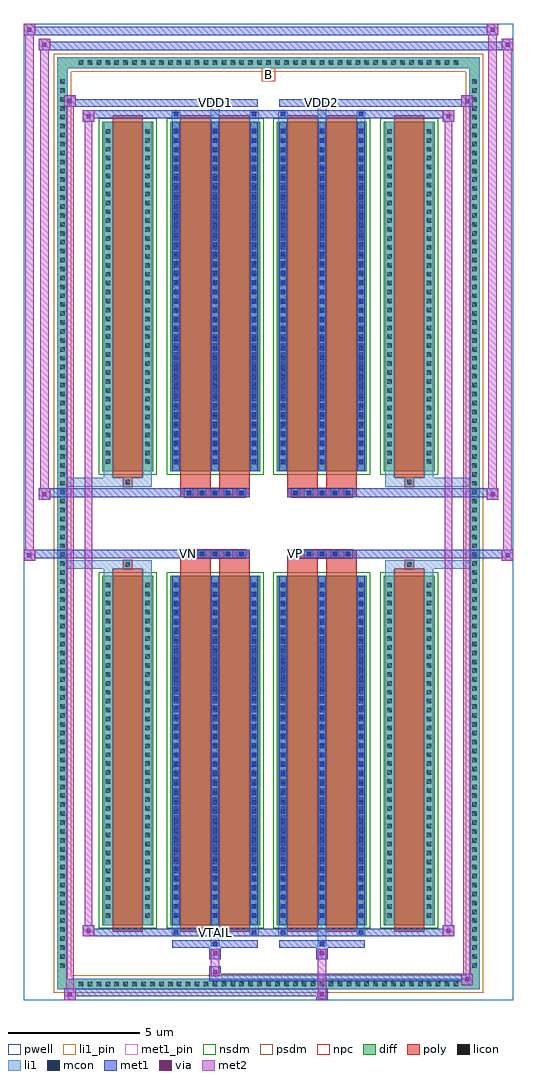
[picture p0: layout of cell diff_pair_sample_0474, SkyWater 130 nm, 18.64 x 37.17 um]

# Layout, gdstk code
import gdstk
lib = gdstk.Library(unit=1e-6, precision=5e-09)
def R(c, l, rs):  # rectangles x0, y0, x1, y1
    for r in rs: c.add(gdstk.rectangle(r[:2], r[2:], *l))
def A(c, l, x, y, w, h, nx, ny, dx, dy):  # array of equal rectangles
    R(c, l, [(x+i*dx, y+j*dy, x+i*dx+w, y+j*dy+h) for i in range(nx) for j in range(ny)])
def P(c, l, *ps):  # polygons
    for p in ps: c.add(gdstk.Polygon(p, *l))
pwell = (64, 44)
diff = (65, 20)
poly = (66, 20)
licon = (66, 44)
li1_pin = (67, 16)
li1 = (67, 20)
mcon = (67, 44)
met1_pin = (68, 16)
met1 = (68, 20)
via = (68, 44)
met2 = (69, 20)
nsdm = (93, 44)
psdm = (94, 20)
npc = (95, 20)

diff_pair_sample_0474 = lib.new_cell('diff_pair_sample_0474')
R(diff_pair_sample_0474, pwell, [(-9.32,-18.15,9.32,19.02), (-6.64,-16.34,-0.01,-0.8), (0.01,-16.34,6.64,-0.8), (-6.64,0.8,-0.01,16.34), (0.01,0.8,6.64,16.34)])
A(diff_pair_sample_0474, diff, -7.345, -17.75, 0.41, 0.41, 43, 2, 0.34, 35.09)
A(diff_pair_sample_0474, diff, -8.05, -17.035, 0.41, 0.41, 1, 100, 0, 0.34)
A(diff_pair_sample_0474, diff, 7.64, -17.035, 0.41, 0.41, 1, 100, 0, 0.34)
R(diff_pair_sample_0474, diff, [(-7.345,-17.75,7.345,-17.34), (-8.05,-17.035,-7.64,17.035), (7.64,-17.035,8.05,17.035), (-6.33,-15.295,-4.39,-1.985), (-3.75,-15.295,-0.32,-1.985), (0.32,-15.295,3.75,-1.985), (4.39,-15.295,6.33,-1.985), (-6.33,1.985,-4.39,15.295), (-3.75,1.985,-0.32,15.295), (0.32,1.985,3.75,15.295), (4.39,1.985,6.33,15.295), (-7.345,17.34,7.345,17.75)])
P(diff_pair_sample_0474, diff, [(8.05,17.75),(-8.05,17.75),(-8.05,-17.34),(-7.64,-17.34),(-7.64,17.34),(7.64,17.34),(7.64,-17.34),(-7.64,-17.34),(-8.05,-17.34),(-8.05,-17.75),(8.05,-17.75)])
A(diff_pair_sample_0474, poly, -3.2, -1.33, 0.33, 0.33, 5, 2, 0.5, 2.33)
A(diff_pair_sample_0474, poly, 0.87, -1.33, 0.33, 0.33, 5, 2, 0.5, 2.33)
R(diff_pair_sample_0474, poly, [(-5.94,-15.545,-4.78,-1.735), (-3.36,-15.545,-2.2,-1.735), (-1.87,-15.545,-0.71,-1.735), (0.71,-15.545,1.87,-1.735), (2.2,-15.545,3.36,-1.735), (4.78,-15.545,5.94,-1.735), (-5.525,-1.735,-5.195,-1.405), (-5.525,-1.735,-5.195,-1.405), (-3.36,-1.735,-2.2,-1.33), (-1.87,-1.735,-0.71,-1.33), (0.71,-1.735,1.87,-1.33), (2.2,-1.735,3.36,-1.33), (5.195,-1.735,5.525,-1.405), (5.195,-1.735,5.525,-1.405), (-3.36,-1.33,-0.71,-1), (0.71,-1.33,3.36,-1), (-3.36,1,-0.71,1.33), (0.71,1,3.36,1.33), (-3.36,1.33,-2.2,1.735), (-1.87,1.33,-0.71,1.735), (0.71,1.33,1.87,1.735), (2.2,1.33,3.36,1.735), (-5.525,1.405,-5.195,1.735), (-5.525,1.405,-5.195,1.735), (5.195,1.405,5.525,1.735), (5.195,1.405,5.525,1.735), (-5.94,1.735,-4.78,15.545), (-3.36,1.735,-2.2,15.545), (-1.87,1.735,-0.71,15.545), (0.71,1.735,1.87,15.545), (2.2,1.735,3.36,15.545), (4.78,1.735,5.94,15.545)])
A(diff_pair_sample_0474, licon, -7.225, -17.63, 0.17, 0.17, 43, 2, 0.34, 35.09)
A(diff_pair_sample_0474, licon, -7.93, -16.915, 0.17, 0.17, 1, 100, 0, 0.34)
A(diff_pair_sample_0474, licon, 7.76, -16.915, 0.17, 0.17, 1, 100, 0, 0.34)
A(diff_pair_sample_0474, licon, -6.19, -15.015, 0.17, 0.17, 1, 38, 0, 0.34)
A(diff_pair_sample_0474, licon, -4.7, -15.015, 0.17, 0.17, 1, 38, 0, 0.34)
A(diff_pair_sample_0474, licon, -3.61, -15.015, 0.17, 0.17, 3, 38, 1.49, 0.34)
A(diff_pair_sample_0474, licon, 0.46, -15.015, 0.17, 0.17, 3, 38, 1.49, 0.34)
A(diff_pair_sample_0474, licon, 4.53, -15.015, 0.17, 0.17, 1, 38, 0, 0.34)
A(diff_pair_sample_0474, licon, 6.02, -15.015, 0.17, 0.17, 1, 38, 0, 0.34)
A(diff_pair_sample_0474, licon, -3.12, -1.25, 0.17, 0.17, 5, 2, 0.5, 2.33)
A(diff_pair_sample_0474, licon, 0.95, -1.25, 0.17, 0.17, 5, 2, 0.5, 2.33)
A(diff_pair_sample_0474, licon, -6.19, 2.265, 0.17, 0.17, 1, 38, 0, 0.34)
A(diff_pair_sample_0474, licon, -4.7, 2.265, 0.17, 0.17, 1, 38, 0, 0.34)
A(diff_pair_sample_0474, licon, -3.61, 2.265, 0.17, 0.17, 3, 38, 1.49, 0.34)
A(diff_pair_sample_0474, licon, 0.46, 2.265, 0.17, 0.17, 3, 38, 1.49, 0.34)
A(diff_pair_sample_0474, licon, 4.53, 2.265, 0.17, 0.17, 1, 38, 0, 0.34)
A(diff_pair_sample_0474, licon, 6.02, 2.265, 0.17, 0.17, 1, 38, 0, 0.34)
R(diff_pair_sample_0474, licon, [(-5.445,-1.655,-5.275,-1.485), (5.275,-1.655,5.445,-1.485), (-5.445,1.485,-5.275,1.655), (5.275,1.485,5.445,1.655)])
R(diff_pair_sample_0474, li1_pin, [(-0.25,16.84,0.25,17.34)])
A(diff_pair_sample_0474, li1, -7.305, -17.71, 0.33, 0.33, 43, 2, 0.34, 35.09)
A(diff_pair_sample_0474, li1, -8.01, -16.995, 0.33, 0.33, 1, 100, 0, 0.34)
A(diff_pair_sample_0474, li1, 7.68, -16.995, 0.33, 0.33, 1, 100, 0, 0.34)
A(diff_pair_sample_0474, li1, -3.69, -15.295, 0.33, 13.31, 3, 2, 1.49, 17.28)
A(diff_pair_sample_0474, li1, 0.38, -15.295, 0.33, 13.31, 3, 2, 1.49, 17.28)
A(diff_pair_sample_0474, li1, -6.27, -15.095, 0.33, 0.33, 1, 38, 0, 0.34)
A(diff_pair_sample_0474, li1, -4.78, -15.095, 0.33, 0.33, 1, 38, 0, 0.34)
A(diff_pair_sample_0474, li1, -3.69, -15.095, 0.33, 0.33, 3, 38, 1.49, 0.34)
A(diff_pair_sample_0474, li1, 0.38, -15.095, 0.33, 0.33, 3, 38, 1.49, 0.34)
A(diff_pair_sample_0474, li1, 4.45, -15.095, 0.33, 0.33, 1, 38, 0, 0.34)
A(diff_pair_sample_0474, li1, 5.94, -15.095, 0.33, 0.33, 1, 38, 0, 0.34)
A(diff_pair_sample_0474, li1, -3.61, -15.025, 0.17, 0.17, 3, 36, 1.49, 0.36)
A(diff_pair_sample_0474, li1, -3.61, -15.025, 0.17, 12.77, 3, 2, 1.49, 17.28)
A(diff_pair_sample_0474, li1, 0.46, -15.025, 0.17, 0.17, 3, 36, 1.49, 0.36)
A(diff_pair_sample_0474, li1, 0.46, -15.025, 0.17, 12.77, 3, 2, 1.49, 17.28)
A(diff_pair_sample_0474, li1, -3.2, -1.33, 0.33, 0.33, 5, 2, 0.5, 2.33)
A(diff_pair_sample_0474, li1, 0.87, -1.33, 0.33, 0.33, 5, 2, 0.5, 2.33)
A(diff_pair_sample_0474, li1, -6.27, 2.185, 0.33, 0.33, 1, 38, 0, 0.34)
A(diff_pair_sample_0474, li1, -4.78, 2.185, 0.33, 0.33, 1, 38, 0, 0.34)
A(diff_pair_sample_0474, li1, -3.69, 2.185, 0.33, 0.33, 3, 38, 1.49, 0.34)
A(diff_pair_sample_0474, li1, 0.38, 2.185, 0.33, 0.33, 3, 38, 1.49, 0.34)
A(diff_pair_sample_0474, li1, 4.45, 2.185, 0.33, 0.33, 1, 38, 0, 0.34)
A(diff_pair_sample_0474, li1, 5.94, 2.185, 0.33, 0.33, 1, 38, 0, 0.34)
A(diff_pair_sample_0474, li1, -3.61, 2.255, 0.17, 0.17, 3, 36, 1.49, 0.36)
A(diff_pair_sample_0474, li1, 0.46, 2.255, 0.17, 0.17, 3, 36, 1.49, 0.36)
R(diff_pair_sample_0474, li1, [(-8.05,-17.75,-7.64,-17.34), (-8.05,-17.75,-7.64,-17.34), (-7.64,-17.75,7.64,-17.34), (7.64,-17.75,8.05,-17.34), (7.64,-17.75,8.05,-17.34), (-8.05,-17.34,-7.64,17.34), (7.64,-17.34,8.05,17.34), (-2.2,-16.1,-1.87,-15.295), (-2.12,-16.1,-1.95,-15.93), (1.87,-16.1,2.2,-15.295), (1.95,-16.1,2.12,-15.93), (-3.69,-15.67,-3.36,-15.295), (-3.61,-15.67,-3.44,-15.5), (-0.71,-15.67,-0.38,-15.295), (-0.63,-15.67,-0.46,-15.5), (0.38,-15.67,0.71,-15.295), (0.46,-15.67,0.63,-15.5), (3.36,-15.67,3.69,-15.295), (3.44,-15.67,3.61,-15.5), (-6.27,-15.295,-5.94,-1.985), (-4.78,-15.295,-4.45,-1.985), (4.45,-15.295,4.78,-1.985), (5.94,-15.295,6.27,-1.985), (-6.27,-1.985,-5.94,-1.405), (-4.78,-1.985,-4.45,-1.405), (4.45,-1.985,4.78,-1.405), (5.94,-1.985,6.27,-1.405), (-8.05,-1.735,-5.525,-1.405), (-6.27,-1.735,-5.525,-1.405), (-5.525,-1.735,-5.195,-1.405), (-5.195,-1.735,-4.45,-1.405), (4.45,-1.735,5.195,-1.405), (5.195,-1.735,5.525,-1.405), (5.195,-1.735,8.05,-1.405), (5.525,-1.735,6.27,-1.405), (-8.05,1.405,-5.525,1.735), (-6.27,1.405,-5.525,1.735), (-6.27,1.405,-5.94,1.985), (-5.525,1.405,-5.195,1.735), (-5.195,1.405,-4.45,1.735), (-4.78,1.405,-4.45,1.985), (4.45,1.405,5.195,1.735), (4.45,1.405,4.78,1.985), (5.195,1.405,5.525,1.735), (5.195,1.405,8.05,1.735), (5.525,1.405,6.27,1.735), (5.94,1.405,6.27,1.985), (-6.27,1.985,-5.94,15.295), (-4.78,1.985,-4.45,15.295), (4.45,1.985,4.78,15.295), (5.94,1.985,6.27,15.295), (-3.69,15.295,-3.36,15.67), (-2.2,15.295,-1.87,16.1), (-0.71,15.295,-0.38,15.67), (0.38,15.295,0.71,15.67), (1.87,15.295,2.2,16.1), (3.36,15.295,3.69,15.67), (-3.61,15.5,-3.44,15.67), (-0.63,15.5,-0.46,15.67), (0.46,15.5,0.63,15.67), (3.44,15.5,3.61,15.67), (-2.12,15.93,-1.95,16.1), (1.95,15.93,2.12,16.1), (-8.05,17.34,-7.64,17.75), (-8.05,17.34,-7.64,17.75), (-7.64,17.34,7.64,17.75), (7.64,17.34,8.05,17.75), (7.64,17.34,8.05,17.75)])
A(diff_pair_sample_0474, mcon, -3.61, -15.025, 0.17, 0.17, 3, 36, 1.49, 0.36)
A(diff_pair_sample_0474, mcon, 0.46, -15.025, 0.17, 0.17, 3, 36, 1.49, 0.36)
A(diff_pair_sample_0474, mcon, -3.12, -1.25, 0.17, 0.17, 5, 2, 0.5, 2.33)
A(diff_pair_sample_0474, mcon, 0.95, -1.25, 0.17, 0.17, 5, 2, 0.5, 2.33)
A(diff_pair_sample_0474, mcon, -3.61, 2.255, 0.17, 0.17, 3, 36, 1.49, 0.36)
A(diff_pair_sample_0474, mcon, 0.46, 2.255, 0.17, 0.17, 3, 36, 1.49, 0.36)
R(diff_pair_sample_0474, mcon, [(-2.12,-16.1,-1.95,-15.93), (1.95,-16.1,2.12,-15.93), (-3.61,-15.67,-3.44,-15.5), (-0.63,-15.67,-0.46,-15.5), (0.46,-15.67,0.63,-15.5), (3.44,-15.67,3.61,-15.5), (-3.61,15.5,-3.44,15.67), (-0.63,15.5,-0.46,15.67), (0.46,15.5,0.63,15.67), (3.44,15.5,3.61,15.67), (-2.12,15.93,-1.95,16.1), (1.95,15.93,2.12,16.1)])
R(diff_pair_sample_0474, met1_pin, [(-2.17,-15.71,-1.9,-15.44), (-3.17,-1.29,-2.9,-1.02), (0.9,-1.29,1.17,-1.02), (-2.17,15.89,-1.9,16.16), (1.9,15.89,2.17,16.16)])
A(diff_pair_sample_0474, met1, -3.67, -15.295, 0.29, 13.31, 3, 2, 1.49, 17.28)
A(diff_pair_sample_0474, met1, 0.4, -15.295, 0.29, 13.31, 3, 2, 1.49, 17.28)
A(diff_pair_sample_0474, met1, -3.67, -15.085, 0.29, 0.29, 3, 36, 1.49, 0.36)
A(diff_pair_sample_0474, met1, 0.4, -15.085, 0.29, 0.29, 3, 36, 1.49, 0.36)
A(diff_pair_sample_0474, met1, -3.18, -1.31, 0.29, 0.29, 5, 2, 0.5, 2.33)
A(diff_pair_sample_0474, met1, 0.89, -1.31, 0.29, 0.29, 5, 2, 0.5, 2.33)
A(diff_pair_sample_0474, met1, -3.67, 2.195, 0.29, 0.29, 3, 36, 1.49, 0.36)
A(diff_pair_sample_0474, met1, 0.4, 2.195, 0.29, 0.29, 3, 36, 1.49, 0.36)
R(diff_pair_sample_0474, met1, [(-7.78,-18.15,-7.35,-17.72), (1.82,-18.15,2.25,-17.72), (-7.78,-18.01,2.25,-17.72), (7.35,-17.58,7.78,-17.15), (-2.25,-17.44,7.78,-17.15), (-2.25,-17.3,-1.82,-16.87), (-2.25,-16.59,-1.82,-16.16), (1.82,-16.59,2.25,-16.16), (-3.67,-16.16,-0.4,-15.87), (-2.18,-16.16,-1.89,-15.87), (0.4,-16.16,3.67,-15.87), (1.89,-16.16,2.18,-15.87), (-7.07,-15.73,-6.64,-15.3), (-7.07,-15.73,-3.67,-15.44), (-3.67,-15.73,-3.38,-15.44), (-3.67,-15.73,-0.4,-15.44), (-0.69,-15.73,-0.4,-15.44), (-0.4,-15.73,0.4,-15.44), (0.4,-15.73,0.69,-15.44), (0.4,-15.73,3.67,-15.44), (3.38,-15.73,3.67,-15.44), (3.67,-15.73,7.07,-15.44), (6.64,-15.73,7.07,-15.3), (-9.32,-1.43,-8.89,-1), (8.89,-1.43,9.32,-1), (-9.32,-1.33,-0.71,-1), (-3.36,-1.33,-0.71,-1), (0.71,-1.33,3.36,-1), (0.71,-1.33,9.32,-1), (-8.75,0.9,-8.32,1.33), (8.32,0.9,8.75,1.33), (-8.75,1,-3.36,1.33), (-3.36,1,-0.71,1.33), (0.71,1,3.36,1.33), (3.36,1,8.75,1.33), (-7.07,15.3,-6.64,15.73), (6.64,15.3,7.07,15.73), (-7.07,15.44,-3.67,15.73), (-3.67,15.44,-3.38,15.73), (-3.67,15.44,-0.4,15.73), (-0.69,15.44,-0.4,15.73), (-0.4,15.44,0.4,15.73), (0.4,15.44,0.69,15.73), (0.4,15.44,3.67,15.73), (3.38,15.44,3.67,15.73), (3.67,15.44,7.07,15.73), (-7.78,15.87,-7.35,16.3), (-7.78,15.87,-3.67,16.16), (-3.67,15.87,-0.4,16.16), (-2.18,15.87,-1.89,16.16), (0.4,15.87,3.67,16.16), (1.89,15.87,2.18,16.16), (3.67,15.87,7.78,16.16), (7.35,15.87,7.78,16.3), (-8.75,18.02,-8.32,18.45), (-8.75,18.02,-6.64,18.35), (-6.64,18.02,6.64,18.35), (6.64,18.02,9.32,18.35), (8.89,18.02,9.32,18.45), (-9.32,18.59,-8.89,19.02), (-9.32,18.59,-6.64,18.92), (-6.64,18.59,6.64,18.92), (6.64,18.59,8.75,18.92), (8.32,18.59,8.75,19.02)])
R(diff_pair_sample_0474, via, [(-7.64,-18.01,-7.49,-17.86), (1.96,-18.01,2.11,-17.86), (7.49,-17.44,7.64,-17.29), (-2.11,-17.16,-1.96,-17.01), (-2.11,-16.45,-1.96,-16.3), (1.96,-16.45,2.11,-16.3), (-6.93,-15.59,-6.78,-15.44), (6.78,-15.59,6.93,-15.44), (-9.18,-1.29,-9.03,-1.14), (9.03,-1.29,9.18,-1.14), (-8.61,1.04,-8.46,1.19), (8.46,1.04,8.61,1.19), (-6.93,15.44,-6.78,15.59), (6.78,15.44,6.93,15.59), (-7.64,16.01,-7.49,16.16), (7.49,16.01,7.64,16.16), (-8.61,18.16,-8.46,18.31), (9.03,18.16,9.18,18.31), (-9.18,18.73,-9.03,18.88), (8.46,18.73,8.61,18.88)])
R(diff_pair_sample_0474, met2, [(-7.78,-18.15,-7.35,-17.72), (-7.71,-18.15,-7.42,16.3), (-7.42,-18.15,-7.35,-17.72), (-7.73,-18.1,-7.4,-17.77), (1.87,-18.1,2.2,-17.77), (1.87,-17.77,2.2,-16.54), (7.35,-17.58,7.78,-17.15), (7.42,-17.58,7.71,16.3), (7.71,-17.58,7.78,-17.15), (7.4,-17.53,7.73,-17.2), (-2.2,-17.25,-1.87,-16.92), (-2.2,-16.92,-1.87,-16.54), (-2.2,-16.54,-1.87,-16.21), (1.87,-16.54,2.2,-16.21), (-7.07,-15.73,-6.64,-15.3), (-7,-15.73,-6.71,15.73), (-6.71,-15.73,-6.64,-15.3), (6.64,-15.73,7.07,-15.3), (6.71,-15.73,7,15.73), (7,-15.73,7.07,-15.3), (-7.02,-15.68,-6.69,-15.35), (6.69,-15.68,7.02,-15.35), (-9.32,-1.43,-8.89,-1), (-9.27,-1.43,-8.94,19.02), (-8.94,-1.43,-8.89,-1), (8.89,-1.43,9.32,-1), (8.94,-1.43,9.27,18.45), (9.27,-1.43,9.32,-1), (-9.27,-1.38,-8.94,-1.05), (8.94,-1.38,9.27,-1.05), (-8.75,0.9,-8.32,1.33), (-8.7,0.9,-8.37,18.45), (-8.37,0.9,-8.32,1.33), (8.32,0.9,8.75,1.33), (8.37,0.9,8.7,19.02), (8.7,0.9,8.75,1.33), (-8.7,0.95,-8.37,1.28), (8.37,0.95,8.7,1.28), (-7.07,15.3,-6.64,15.73), (-6.71,15.3,-6.64,15.73), (6.64,15.3,7.07,15.73), (7,15.3,7.07,15.73), (-7.02,15.35,-6.69,15.68), (6.69,15.35,7.02,15.68), (-7.78,15.87,-7.35,16.3), (-7.42,15.87,-7.35,16.3), (7.35,15.87,7.78,16.3), (7.71,15.87,7.78,16.3), (-7.73,15.92,-7.4,16.25), (7.4,15.92,7.73,16.25), (-8.75,18.02,-8.32,18.45), (-8.37,18.02,-8.32,18.45), (8.89,18.02,9.32,18.45), (9.27,18.02,9.32,18.45), (-8.7,18.07,-8.37,18.4), (8.94,18.07,9.27,18.4), (-9.32,18.59,-8.89,19.02), (-8.94,18.59,-8.89,19.02), (8.32,18.59,8.75,19.02), (8.7,18.59,8.75,19.02), (-9.27,18.64,-8.94,18.97), (8.37,18.64,8.7,18.97)])
R(diff_pair_sample_0474, nsdm, [(-6.46,-15.425,-4.26,-1.855), (-3.88,-15.425,-0.19,-1.855), (0.19,-15.425,3.88,-1.855), (4.26,-15.425,6.46,-1.855), (-6.46,1.855,-4.26,15.425), (-3.88,1.855,-0.19,15.425), (0.19,1.855,3.88,15.425), (4.26,1.855,6.46,15.425)])
P(diff_pair_sample_0474, psdm, [(8.18,17.88),(-8.18,17.88),(-8.18,-17.21),(-7.51,-17.21),(-7.51,17.21),(7.51,17.21),(7.51,-17.21),(-7.51,-17.21),(-8.18,-17.21),(-8.18,-17.88),(8.18,-17.88)])
A(diff_pair_sample_0474, npc, -3.22, -1.35, 0.37, 0.37, 5, 2, 0.5, 2.33)
A(diff_pair_sample_0474, npc, 0.85, -1.35, 0.37, 0.37, 5, 2, 0.5, 2.33)
R(diff_pair_sample_0474, npc, [(-5.545,-1.755,-5.175,-1.385), (5.175,-1.755,5.545,-1.385), (-3.22,-1.35,-2.35,-0.98), (-3.22,-1.35,-2.35,-0.98), (-2.72,-1.35,-1.85,-0.98), (-2.72,-1.35,-1.85,-0.98), (-2.22,-1.35,-1.35,-0.98), (-2.22,-1.35,-1.35,-0.98), (-1.72,-1.35,-0.85,-0.98), (-1.72,-1.35,-0.85,-0.98), (0.85,-1.35,1.72,-0.98), (0.85,-1.35,1.72,-0.98), (1.35,-1.35,2.22,-0.98), (1.35,-1.35,2.22,-0.98), (1.85,-1.35,2.72,-0.98), (1.85,-1.35,2.72,-0.98), (2.35,-1.35,3.22,-0.98), (2.35,-1.35,3.22,-0.98), (-3.22,0.98,-2.35,1.35), (-3.22,0.98,-2.35,1.35), (-2.72,0.98,-1.85,1.35), (-2.72,0.98,-1.85,1.35), (-2.22,0.98,-1.35,1.35), (-2.22,0.98,-1.35,1.35), (-1.72,0.98,-0.85,1.35), (-1.72,0.98,-0.85,1.35), (0.85,0.98,1.72,1.35), (0.85,0.98,1.72,1.35), (1.35,0.98,2.22,1.35), (1.35,0.98,2.22,1.35), (1.85,0.98,2.72,1.35), (1.85,0.98,2.72,1.35), (2.35,0.98,3.22,1.35), (2.35,0.98,3.22,1.35), (-5.545,1.385,-5.175,1.755), (5.175,1.385,5.545,1.755)])
diff_pair_sample_0474.add(gdstk.Label('VTAIL', (-2.035,-15.575), layer=68, texttype=5))
diff_pair_sample_0474.add(gdstk.Label('VN', (-3.035,-1.155), layer=68, texttype=5))
diff_pair_sample_0474.add(gdstk.Label('VP', (1.035,-1.155), layer=68, texttype=5))
diff_pair_sample_0474.add(gdstk.Label('B', (0,17.09), layer=67, texttype=5))
diff_pair_sample_0474.add(gdstk.Label('VDD2', (2.035,16.025), layer=68, texttype=5))
diff_pair_sample_0474.add(gdstk.Label('VDD1', (-2.035,16.025), layer=68, texttype=5))

lib.write_gds('diff_pair_sample_0474.gds')
